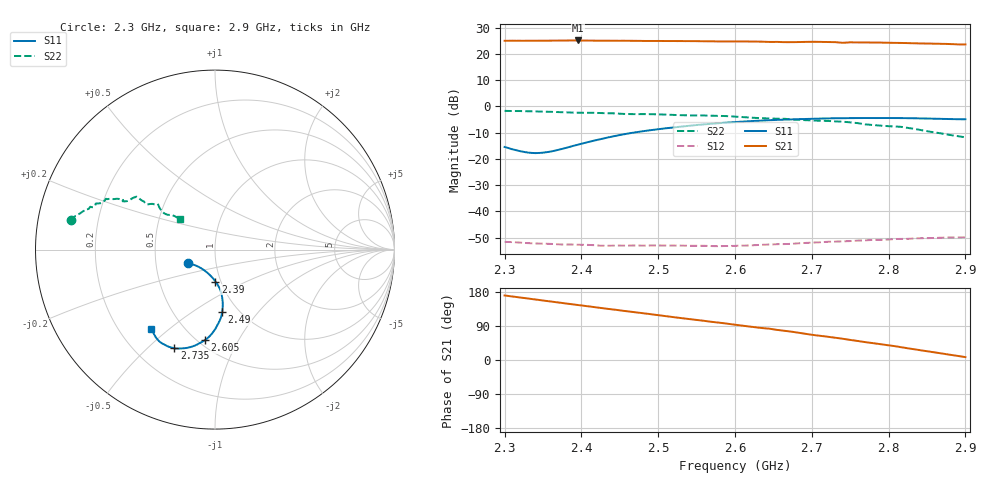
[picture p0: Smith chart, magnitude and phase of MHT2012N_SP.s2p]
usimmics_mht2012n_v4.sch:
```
<QucsStudio Schematic 5.8>
<Properties>
View=69.2526,-150.772,3192.05,1386.16,0.972221,0,0
Grid=10,10,1
DataSet=*.dat
DataDisplay=*.dpl
OpenDisplay=3
showFrame=0
FrameText0=Title \n @PATH@@FILE@
FrameText1=Drawn By:
FrameText2=Date: @DATE@
FrameText3=Revision:
</Properties>
<Symbol>
</Symbol>
<Components>
SPfile X1 1 1090 300 -634 617 0 "//10.0.0.150/pablos/qo-100/trv/mht2012/MHT2012N_SP.s2p"1"2"0"polar"0"linear"0"short"0"none"0"amp"0"SOT23"0
C C5 1 1790 360 -78 -17 3 "0.5 pF"1"0"0""0"neutral"0"SMD0603"0
GND * 1 3080 390 0 0 0
Pac P2 1 3080 360 18 -26 0 "2"1"50 Ω"1"0 dBm"0"1 GHz"0"26.85"0"con_2"0
MLIN MS16 0 2520 300 -32 44 0 "Subst1"1"0.59 mm"1"8.62 mm"1"26.85"0
MLIN MS17 0 2640 300 -32 44 0 "Subst1"1"4.775 mm"1"3.447 mm"1"26.85"0
MLIN MS15 0 2280 300 -32 44 0 "Subst1"1"0.59 mm"1"8.62 mm"1"26.85"0
MLIN MS14 0 2160 300 -32 44 0 "Subst1"1"4.775 mm"1"3.447 mm"1"26.85"0
MSTEP MS31 0 2220 300 -34 -110 0 "Subst1"1"4.775 mm"1"0.59 mm"1"showNumbers"0
MSTEP MS32 0 2340 300 -34 -110 0 "Subst1"1"0.59 mm"1"4.775 mm"1"showNumbers"0
MSTEP MS33 0 2460 300 -34 -110 0 "Subst1"1"4.775 mm"1"0.59 mm"1"showNumbers"0
MSTEP MS34 0 2580 300 -34 -110 0 "Subst1"1"0.59 mm"1"4.775 mm"1"showNumbers"0
C C3 1 1410 360 -78 -41 3 "0.8 pF"1"0"0""0"neutral"0"SMD0603"0
Pac P1 1 440 350 -77 -28 0 "1"1"50 Ω"1"0 dBm"0"1 GHz"0"26.85"0"con_2"0
GND * 1 440 380 0 0 0
Eqn Eqn1 1 470 1050 0 8 0 "dB_S21=dB(S[2,1])="1"dB_S11=dB(S[1,1])="1"yes"0
C C6 1 1260 550 -26 17 0 "1 uF"1"0"0""0"neutral"0"SMD0805"0
MLIN MS19 0 2400 300 -32 44 0 "Subst1"1"4.775 mm"1"5.741 mm"1"26.85"0
MLIN MS5 1 1710 300 -36 -80 0 "JLC0208"0"1.2 mm"1"3.8 mm"1"26.85"0
MSTEP MS78 1 810 300 -16 -83 0 "JLC0208"0"1.2 mm"1"0.35 mm"1"showNumbers"0
MLIN MS6 1 890 300 -34 41 0 "JLC0208"0"0.35mm"1"2.45mm"1"26.85"0
MSTEP MS7 1 970 300 -16 -83 0 "JLC0208"0"0.35 mm"1"1.2 mm"1"showNumbers"0
MLIN MS77 1 1030 300 -26 15 0 "JLC0208"0"1.2 mm"1"1.41 mm"1"26.85"0
MLIN MS57 1 970 470 -328 -6 3 "JLC0208"0"0.5"1"0.7"1"26.85"0
MLIN MS59 1 1010 470 -414 -5 3 "JLC0208"0"0.5"1"0.7"1"26.85"0
MLIN MS61 1 1050 470 -447 39 3 "JLC0208"0"0.5"1"0.7"1"26.85"0
MLIN MS63 1 1090 470 -500 1 3 "JLC0208"0"0.5"1"0.7"1"26.85"0
MVIA MS56 1 950 500 -366 -5 6 "JLC0208"1"0.5 mm"1"26.85"0
MVIA MS64 1 950 600 -342 -107 6 "JLC0208"0"0.4 mm"1"26.85"0
MLIN MS65 1 970 570 -332 -75 3 "JLC0208"0"0.4"1"0.7"1"26.85"0
MVIA MS66 1 990 600 -379 -129 6 "JLC0208"0"0.5 mm"1"26.85"0
MLIN MS67 1 1010 570 -402 -110 3 "JLC0208"0"0.5"1"0.7"1"26.85"0
MVIA MS68 1 1030 600 -453 -103 6 "JLC0208"0"0.5 mm"1"26.85"0
MLIN MS69 1 1050 570 -439 -83 3 "JLC0208"0"0.5"1"0.7"1"26.85"0
MVIA MS70 1 1070 600 -494 -107 6 "JLC0208"0"0.5 mm"1"26.85"0
MLIN MS71 1 1090 570 -474 -96 3 "JLC0208"0"0.5"1"0.7"1"26.85"0
MVIA MS62 1 1070 500 -503 -22 6 "JLC0208"0"0.5 mm"1"26.85"0
MVIA MS60 1 1030 500 -433 -17 6 "JLC0208"0"0.5 mm"1"26.85"0
MVIA MS58 1 990 500 -439 -26 6 "JLC0208"0"0.5 mm"1"26.85"0
MLIN MS36 1 530 300 -26 15 0 "JLC0208"0"1.2 mm"1"5 mm"1"26.85"0
MLIN MS72 1 1320 550 -27 22 2 "JLC0208"0"0.5"1"0.7"1"26.85"0
MVIA MS37 1 1370 550 24 -6 0 "JLC0208"0"0.3 mm"1"26.85"0
MVIA MS74 1 1870 410 158 83 0 "JLC0208"0"0.4 mm"1"26.85"0
MLIN MS73 1 1820 410 193 85 2 "JLC0208"0"0.4"1"0.7"1"26.85"0
MLIN MS20 1 1870 300 -26 15 0 "JLC0208"0"1.2 mm"1"10 mm"1"26.85"0
MSTEP MS13 0 2100 300 -34 -110 0 "JLC0208"0"1.2 mm"1"4.775 mm"1"showNumbers"0
MLIN MS21 1 2970 300 -26 15 0 "JLC0208"0"1.2 mm"1"5 mm"1"26.85"0
MSTEP MS18 0 2700 300 -34 -110 0 "JLC0208"0"4.775 mm"1"1.2 mm"1"showNumbers"0
MLIN MS4 1 1470 300 -33 30 0 "JLC0208"0"4.4 mm"1"1.94 mm"1"26.85"0
C C4 1 1620 300 -22 19 0 "4.7 pF"1"0"0""0"neutral"0"SMD0603"0
MVIA MS79 1 1870 450 139 53 0 "JLC0208"0"0.4 mm"1"26.85"0
MLIN MS80 1 1820 450 214 51 2 "JLC0208"0"0.4"1"0.7"1"26.85"0
MVIA MS81 1 1870 490 141 10 0 "JLC0208"0"0.4 mm"1"26.85"0
MLIN MS82 1 1820 490 199 6 2 "JLC0208"0"0.4"1"0.7"1"26.85"0
MTEE MS12 1 1790 300 -23 -117 0 "JLC0208"0"1.2 mm"1"1.2 mm"1"1.2 mm"1"showNumbers"0
MLIN MS3 1 1320 300 -35 -73 0 "JLC0208"0"4.4 mm"1"3.1 mm"1"26.85"0
MTEE MS2 1 1410 300 -39 -116 0 "JLC0208"0"4.4 mm"1"4.4 mm"1"1.2 mm"1"showNumbers"0
CLIN CL1 1 1220 410 27 -37 3 "JLC0208"0"1.25 mm"1"1.22 mm"1"16.6 mm"1"26.85"0
MTEE MS1 1 1220 300 -40 -121 0 "JLC0208"0"4.4 mm"1"4.4 mm"1"1.25 mm"1"showNumbers"0
MSTEP MS8 1 1530 300 -34 -85 0 "JLC0208"0"4.4 mm"1"1.2 mm"1"showNumbers"0
MLIN MS75 1 1440 410 -28 27 2 "JLC0208"0"0.5"1"0.7"1"26.85"0
MVIA MS76 1 1490 410 -15 45 0 "JLC0208"0"0.3 mm"1"26.85"0
SUBST JLC0208 1 490 760 -30 24 0 "4.85"1"0.7 mm"1"35 µm"1"2e-4"1"1.72e-8"1"0"0"Metal"0"Hammerstad"0"Kirschning"0
.SP SP1 1 660 1080 0 9 0 "lin"1"2.38 GHz"1"2.42 GHz"1"19"1"no"0"1"0"2"0"none"0
</Components>
<Wires>
1250 300 1290 300
1350 300 1380 300
1120 300 1190 300
3080 330 3080 340
3080 300 3080 330
3000 300 3080 300
440 320 440 330
440 300 440 320
440 300 500 300
1090 320 1090 440
1010 500 1010 540
1090 500 1090 540
1050 500 1050 540
970 440 1010 440
970 500 970 540
1790 390 1790 410
1410 390 1410 410
1220 330 1220 380
1220 550 1230 550
1220 440 1220 550 "VDD" 1160 500 95 ""
560 300 780 300
920 300 940 300
840 300 860 300
1010 440 1050 440
1050 440 1090 440
1650 300 1680 300
1790 450 1790 490
1790 410 1790 450
2940 40 2940 300
1900 40 2940 40
1900 40 1900 300
1820 300 1840 300
1740 300 1760 300
1560 300 1590 300
</Wires>
<Diagrams>
<Rect 1241 859 360 220 31 #c0c0c0 1 00 1 -1 0.5 1 0 27 0.5 30 0 -50 10 -10 -1 -1 -1 "" "" "">
	<Legend 10 -100 0>
	<"dB(S[1,1])" "" #0000ff 1 3 0 0 1 0 "">
	<"dB(S[2,1])" "" #ff0000 1 3 0 0 0 0 "">
	  <Mkr 2.40667e+09 219 -209 3 1 0 0 0 50>
</Rect>
<Smith 1238 1306 367 367 31 #c0c0c0 1 00 1 0 1 1 0 0 4 10 1 0 4 1 -1 -1 -1 "" "" "">
	<Legend 10 -100 0>
	<"stabL()" "" #0000ff 1 3 0 0 0 1 "">
	<"stabS()" "" #ff0000 1 3 0 0 0 1 "">
</Smith>
<Rect 1800 1240 360 220 31 #c0c0c0 1 00 1 2.38e+09 5e+06 2.42e+09 0 3 0.5 10 1 -1 0.5 1 -1 -1 -1 "" "" "">
	<Legend 10 -100 0>
	<"rollet()" "" #0000ff 1 3 0 0 0 1 "">
</Rect>
<Rect 2220 1240 360 220 31 #c0c0c0 1 00 1 2.38e+09 5e+06 2.42e+09 0 2 1 12 1 -1 0.5 1 -1 -1 -1 "" "" "">
	<Legend 10 -100 0>
	<"mu()" "" #0000ff 1 3 0 0 0 1 "">
</Rect>
<Smith 1800 929 321 321 31 #c0c0c0 1 00 1 0 1 1 1 0 4 1 1 0 4 1 -1 -1 -1 "" "" "">
	<Legend 10 -100 0>
	<"S[1,1]" "" #0000ff 1 3 0 0 0 0 "">
	  <Mkr 2.39778e+09 -50 -379 3 1 0 0 1 50>
	<"S[2,2]" "" #ff0000 1 3 0 0 0 0 "">
	  <Mkr 2.4e+09 340 -269 3 1 0 0 1 50>
</Smith>
</Diagrams>
<Paintings>
Text 2325 101 16 #000000 0 2.6GHz low-pass \n 5th ord. Chebyshev 0.1dB
Text 525 251 16 #000000 0 50Ω
Text 2965 241 16 #000000 0 50Ω
Text 1855 261 16 #000000 0 50Ω
Text 1105 341 16 #000000 0 MHT2012N
Line 1190 150 210 0 #ff0000 2 1
Text 1275 121 16 #000000 0 5.1mm
Line 1190 110 360 0 #ff0000 2 1
Text 1355 81 16 #000000 0 7.68mm
Text 1555 361 12 #000000 0 KYOCERA AVX \n 600F4R7BT250XT  \n SRF>5G
Line 1610 140 180 0 #ff0000 2 1
Text 1685 111 16 #000000 0 4.4mm
</Paintings>
```
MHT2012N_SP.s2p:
!Copyright - 2018 NXP B.V.
! 10/30/2018
! Rev. 0
! MHT2012N S-Parameters
! Vdd = 28 Vdc, IDQ1 = 12 mA IDQ2 = 72 mA
# hz S ma R 50
! freq  magS11  angS11  magS21  angS21  magS12  angS12  magS22  angS22
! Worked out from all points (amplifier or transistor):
!   121 points, 2.3 GHz to 2.9 GHz, reference 50 ohm
!   highest |S21| = 25.1 dB at 2.395 GHz (marker M1)
!   |S21| within 3 dB of that: start of sweep to end of sweep
!   unconditionally stable (mu >= 1): start of sweep to end of sweep
!   at 2.4 GHz: K = 5.10, MAG = 28.8 dB, |S12| = -52.7 dB
!   at 2.6 GHz: K = 6.07, MAG = 28.1 dB, |S12| = -53.1 dB
!   at 2.9 GHz: K = 6.55, MAG = 25.6 dB, |S12| = -49.8 dB
!   S11 on the Smith chart (normalised r, x): 2.3 GHz: 0.73, -0.11; 2.39 GHz: 0.94, -0.35; 2.49 GHz: 0.84, -0.67; 2.605 GHz: 0.54, -0.74; 2.735 GHz: 0.36, -0.61; 2.9 GHz: 0.33, -0.43
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2.3e9  0.1687 -154.1  17.72 170.3  0.002637 84.3  0.8215 168.5
2.39e9  0.1778 -89.2  17.95 146.5  0.002338 86.8  0.7616 163.5
2.395e9  0.1859 -87.3  17.98 145.2  0.002324 87.1  0.7583 163.3
2.49e9  0.352 -83.5  17.59 121.0  0.002253 93.3  0.7106 158.8
2.54e9  0.4267 -88.6  17.48 108.1  0.00222 95.1  0.6746 156.4
2.6e9  0.5023 -95.7  17.19 93.1  0.002213 101.9  0.6385 153.8
2.605e9  0.5078 -96.4  17.19 91.8  0.002228 102.6  0.6315 153.6
2.695e9  0.577 -107.7  16.91 68.2  0.002528 106.5  0.5438 148.5
2.735e9  0.5944 -112.5  16.47 57.5  0.002678 107.8  0.5146 146.0
2.825e9  0.5959 -122.2  16.01 30.9  0.003008 107.0  0.3893 142.8
2.9e9  0.5681 -129.2  15.11 7.6  0.003222 104.9  0.2574 139.1
